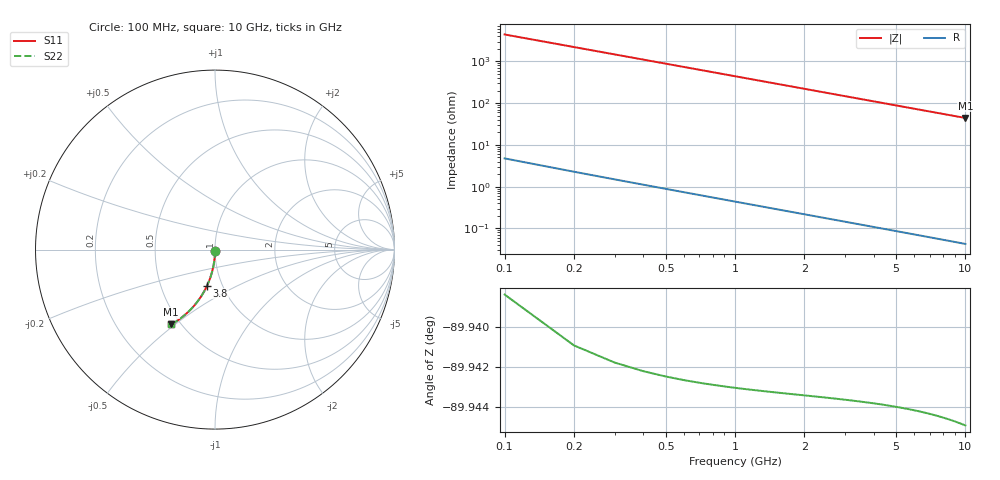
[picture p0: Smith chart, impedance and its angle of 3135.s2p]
# Hz S RI R 50.00
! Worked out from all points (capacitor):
!   100 points, 100 MHz to 10 GHz, reference 50 ohm
!   read as one part in shunt: C = 360 fF near 100 MHz
!   lowest |Z| = 44.2 ohm at 10 GHz (marker M1)
!   S11 on the Smith chart (normalised r, x): 100 MHz: 1.00, -0.01; 3.8 GHz: 0.85, -0.36; 10 GHz: 0.44, -0.48
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1e8  1.55e-05 -0.00553  0.9999 -0.00577  0.9999 -0.00577  1.55e-05 -0.00553
2e8  -8.56e-05 -0.0111  0.9998 -0.0115  0.9998 -0.0115  -8.56e-05 -0.0111
3e8  -0.000251 -0.0166  0.9996 -0.0173  0.9996 -0.0173  -0.000251 -0.0166
4e8  -0.000479 -0.0221  0.9994 -0.0231  0.9994 -0.0231  -0.000479 -0.0221
5e8  -0.000772 -0.0276  0.9991 -0.0288  0.9991 -0.0288  -0.000772 -0.0276
6e8  -0.00113 -0.0332  0.9988 -0.0346  0.9988 -0.0346  -0.00113 -0.0332
7e8  -0.00155 -0.0387  0.9983 -0.0403  0.9983 -0.0403  -0.00155 -0.0387
8e8  -0.00203 -0.0442  0.9979 -0.0461  0.9979 -0.0461  -0.00203 -0.0442
9e8  -0.00258 -0.0497  0.9973 -0.0518  0.9973 -0.0518  -0.00258 -0.0497
1.1e9  -0.00386 -0.0606  0.996 -0.0633  0.996 -0.0633  -0.00386 -0.0606
1.4e9  -0.00625 -0.077  0.9936 -0.0803  0.9936 -0.0803  -0.00625 -0.077
1.8e9  -0.0103 -0.0986  0.9896 -0.1029  0.9896 -0.1029  -0.0103 -0.0986
2.1e9  -0.014 -0.1146  0.9859 -0.1196  0.9859 -0.1196  -0.014 -0.1146
2.5e9  -0.0197 -0.1356  0.9802 -0.1416  0.9802 -0.1416  -0.0197 -0.1356
2.9e9  -0.0263 -0.1563  0.9736 -0.1632  0.9736 -0.1632  -0.0263 -0.1563
3.4e9  -0.0358 -0.1814  0.964 -0.1896  0.964 -0.1896  -0.0358 -0.1814
3.8e9  -0.0443 -0.201  0.9555 -0.2101  0.9555 -0.2101  -0.0443 -0.201
4.4e9  -0.0586 -0.2292  0.9412 -0.2398  0.9412 -0.2398  -0.0586 -0.2292
5.1e9  -0.0772 -0.2604  0.9226 -0.2727  0.9226 -0.2727  -0.0772 -0.2604
6.7e9  -0.1264 -0.3238  0.8734 -0.34  0.8734 -0.34  -0.1264 -0.3238
8.4e9  -0.1856 -0.3782  0.8141 -0.3986  0.8141 -0.3986  -0.1856 -0.3782
1e10  -0.2445 -0.4173  0.755 -0.4416  0.755 -0.4416  -0.2445 -0.4173
